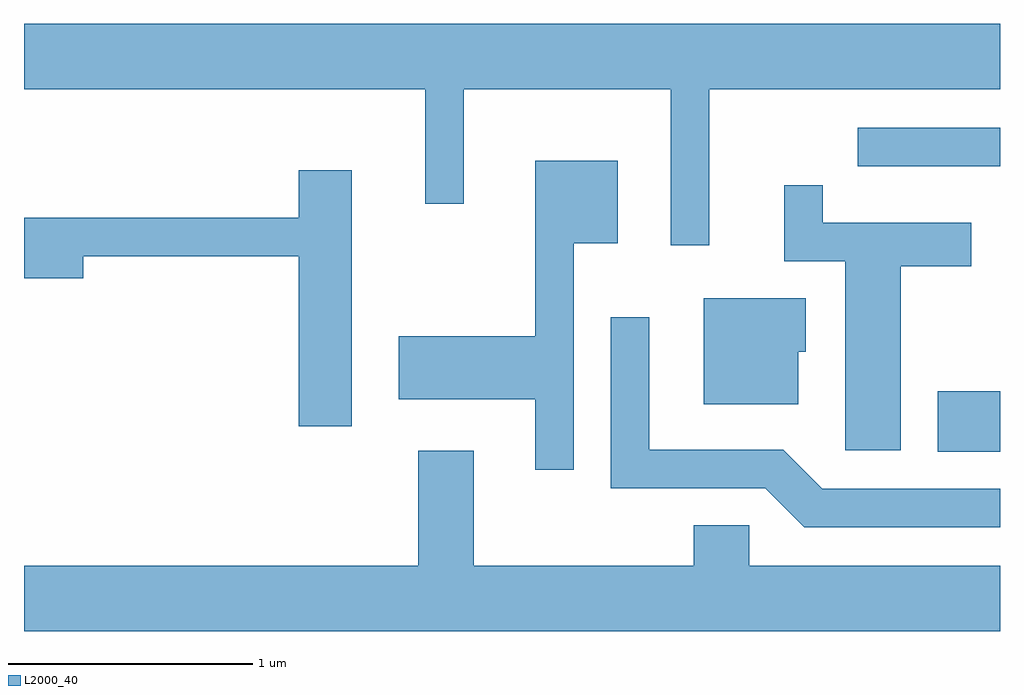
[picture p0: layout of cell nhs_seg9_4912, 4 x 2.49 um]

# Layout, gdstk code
import gdstk
lib = gdstk.Library(unit=1e-6, precision=1e-09)
def R(c, l, rs):  # rectangles x0, y0, x1, y1
    for r in rs: c.add(gdstk.rectangle(r[:2], r[2:], *l))
def P(c, l, *ps):  # polygons
    for p in ps: c.add(gdstk.Polygon(p, *l))
L2000_40 = (2000, 40)

nhs_seg9_4912 = lib.new_cell('nhs_seg9_4912')
R(nhs_seg9_4912, L2000_40, [(333.356,2030.291,333.611,2030.539), (333.028,2031.461,333.611,2031.619)])
P(nhs_seg9_4912, L2000_40, [(332.419,2031.776),(333.611,2031.776),(333.611,2032.044),(329.611,2032.044),(329.611,2031.776),(331.256,2031.776),(331.256,2031.308),(331.414,2031.308),(331.414,2031.776),(332.261,2031.776),(332.261,2031.138),(332.419,2031.138)],
  [(331.864,2031.146),(332.044,2031.146),(332.044,2031.484),(331.706,2031.484),(331.706,2030.764),(331.146,2030.764),(331.146,2030.506),(331.706,2030.506),(331.706,2030.218),(331.864,2030.218)],
  [(330.954,2031.444),(330.736,2031.444),(330.736,2031.249),(329.611,2031.249),(329.611,2031.001),(329.854,2031.001),(329.854,2031.091),(330.736,2031.091),(330.736,2030.396),(330.954,2030.396)],
  [(333.204,2031.051),(333.494,2031.051),(333.494,2031.229),(332.884,2031.229),(332.884,2031.383),(332.726,2031.383),(332.726,2031.071),(332.976,2031.071),(332.976,2030.296),(333.204,2030.296)],
  [(332.784,2030.701),(332.814,2030.701),(332.814,2030.919),(332.396,2030.919),(332.396,2030.486),(332.784,2030.486)],
  [(333.611,2030.139),(332.882,2030.139),(332.722,2030.299),(332.174,2030.299),(332.174,2030.843),(332.016,2030.843),(332.016,2030.141),(332.649,2030.141),(332.809,2029.981),(333.611,2029.981)],
  [(333.611,2029.824),(332.584,2029.824),(332.584,2029.989),(332.356,2029.989),(332.356,2029.824),(331.454,2029.824),(331.454,2030.294),(331.226,2030.294),(331.226,2029.824),(329.611,2029.824),(329.611,2029.556),(333.611,2029.556)])

lib.write_gds('nhs_seg9_4912.gds')
